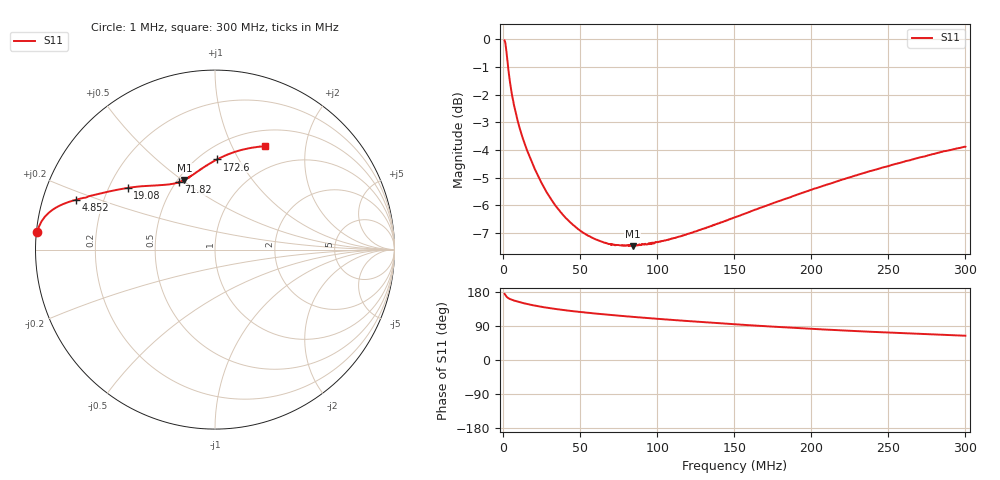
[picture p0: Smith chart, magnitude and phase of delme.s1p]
# HZ S RI R 50
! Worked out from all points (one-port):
!   1010 points, 1 MHz to 300 MHz, reference 50 ohm
!   lowest |S11| = -7.5 dB at 84.27 MHz (marker M1), VSWR 2.47, Z = 27 + j25.5 ohm
!   |S11| at or under -10 dB: nowhere
!   S11 on the Smith chart (normalised r, x): 1 MHz: 0.00, +0.05; 4.852 MHz: 0.10, +0.17; 19.08 MHz: 0.28, +0.30; 71.82 MHz: 0.52, +0.47; 172.6 MHz: 0.61, +0.82; 300 MHz: 0.70, +1.35
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1000000  -0.9897 0.0967
1592600  -0.9665 0.1574
2185300  -0.9272 0.2042
2777900  -0.8851 0.2344
3370600  -0.8474 0.2533
3963300  -0.8152 0.2655
4852300  -0.775 0.2776
6037600  -0.7317 0.2883
7222900  -0.6959 0.2989
8704600  -0.6579 0.3076
1.04826e7  -0.6189 0.3174
1.43349e7  -0.5515 0.3321
1.90763e7  -0.4866 0.3441
2.35213e7  -0.4373 0.3504
2.79663e7  -0.3966 0.3537
3.300393e7  -0.3589 0.356
3.863423e7  -0.324 0.3577
5.256193e7  -0.2601 0.3628
7.182356e7  -0.2013 0.3752
7.597216e7  -0.191 0.3792
8.426956e7  -0.1701 0.3874
1.133102e8  -0.1116 0.4251
1.506482e8  -0.0348 0.476
1.725768e8  0.012 0.5024
1.879861e8  0.0452 0.5188
2.25324e8  0.1264 0.5495
2.62662e8  0.2054 0.5678
3e8  0.2795 0.5752
